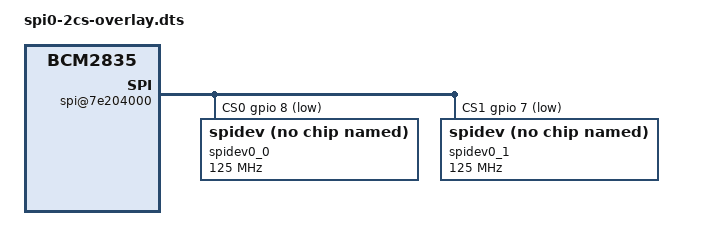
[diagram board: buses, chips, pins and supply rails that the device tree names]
/dts-v1/;
/plugin/;

/ {
    compatible = "brcm,bcm2835";

    fragment@0 {
        target-path = "/soc/gpio@7e200000";
        __overlay__ {
            spi0_cs_pins: spi0_cs_pins {
                brcm,pins = <8 7>;         // CE0, CE1
                brcm,function = <1>;       // Output
            };

            spi0_pins: spi0_pins {
                brcm,pins = <10 11>;       // MOSI, SCLK
                brcm,function = <4>;       // alt0
            };
        };
    };

    fragment@1 {
        target-path = "/soc/spi@7e204000";
        frag1: __overlay__ {
            #address-cells = <1>;
            #size-cells = <0>;
            pinctrl-names = "default";
            pinctrl-0 = <&spi0_pins &spi0_cs_pins>;
            cs-gpios = <&gpio 8 1>, <&gpio 7 1>;
            status = "okay";

            spidev0_0: spidev@0 {
                compatible = "spidev";
                reg = <0>;
                #address-cells = <1>;
                #size-cells = <0>;
                spi-max-frequency = <125000000>;
                status = "okay";
            };

            spidev0_1: spidev@1 {
                compatible = "spidev";
                reg = <1>;
                #address-cells = <1>;
                #size-cells = <0>;
                spi-max-frequency = <125000000>;
                status = "okay";
            };
        };
    };

    __overrides__ {
        cs0_pin  = <&spi0_cs_pins>,"brcm,pins:0",
                   <&frag1>,"cs-gpios:4";
        cs1_pin  = <&spi0_cs_pins>,"brcm,pins:4",
                   <&frag1>,"cs-gpios:16";
        cs0_spidev = <&spidev0_0>,"status";
        cs1_spidev = <&spidev0_1>,"status";
    };
};
